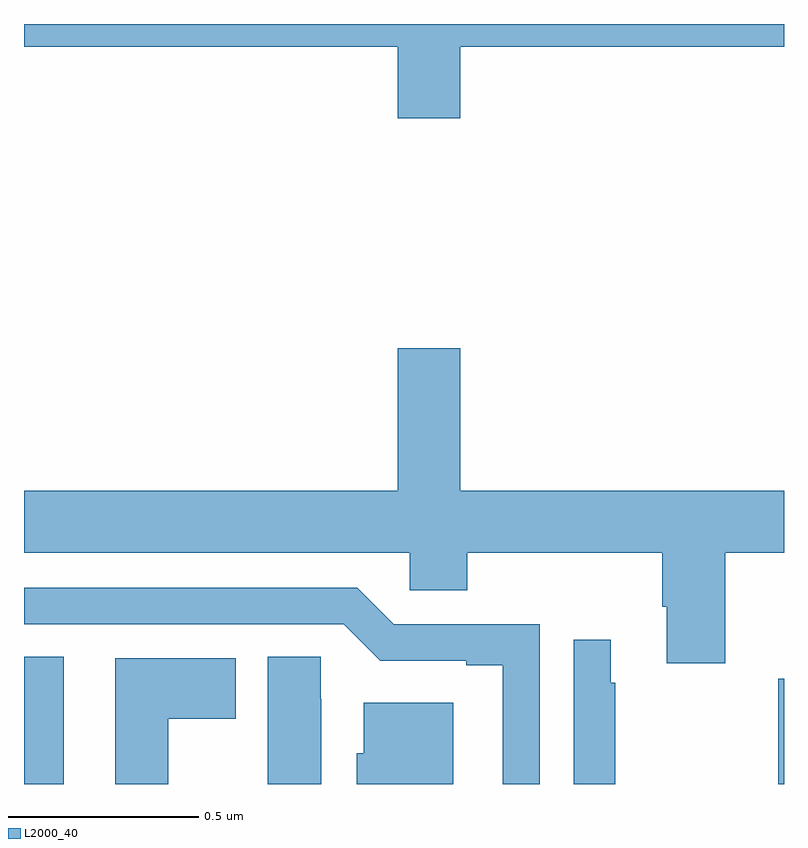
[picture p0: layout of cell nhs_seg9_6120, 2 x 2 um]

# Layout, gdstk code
import gdstk
lib = gdstk.Library(unit=1e-6, precision=1e-09)
def R(c, l, rs):  # rectangles x0, y0, x1, y1
    for r in rs: c.add(gdstk.rectangle(r[:2], r[2:], *l))
def P(c, l, *ps):  # polygons
    for p in ps: c.add(gdstk.Polygon(p, *l))
L2000_40 = (2000, 40)

nhs_seg9_6120 = lib.new_cell('nhs_seg9_6120')
R(nhs_seg9_6120, L2000_40, [(188,1174.5,188.104,1174.835), (189.985,1174.5,190,1174.777)])
P(nhs_seg9_6120, L2000_40, [(189.148,1176.44),(190,1176.44),(190,1176.5),(188,1176.5),(188,1176.44),(188.984,1176.44),(188.984,1176.252),(189.148,1176.252)],
  [(189.845,1175.108),(190,1175.108),(190,1175.272),(189.148,1175.272),(189.148,1175.647),(188.984,1175.647),(188.984,1175.272),(188,1175.272),(188,1175.108),(189.015,1175.108),(189.015,1175.01),(189.167,1175.01),(189.167,1175.108),(189.68,1175.108),(189.68,1174.966),(189.692,1174.966),(189.692,1174.818),(189.845,1174.818)],
  [(189.357,1174.92),(188.973,1174.92),(188.877,1175.016),(188,1175.016),(188,1174.92),(188.841,1174.92),(188.937,1174.824),(189.164,1174.824),(189.164,1174.812),(189.26,1174.812),(189.26,1174.5),(189.357,1174.5)],
  [(189.556,1174.766),(189.544,1174.766),(189.544,1174.879),(189.447,1174.879),(189.447,1174.5),(189.556,1174.5)],
  [(188.782,1174.724),(188.781,1174.724),(188.781,1174.835),(188.642,1174.835),(188.642,1174.5),(188.782,1174.5)],
  [(188.38,1174.672),(188.557,1174.672),(188.557,1174.831),(188.24,1174.831),(188.24,1174.5),(188.38,1174.5)],
  [(189.13,1174.714),(188.894,1174.714),(188.894,1174.581),(188.876,1174.581),(188.876,1174.5),(189.13,1174.5)])

lib.write_gds('nhs_seg9_6120.gds')
